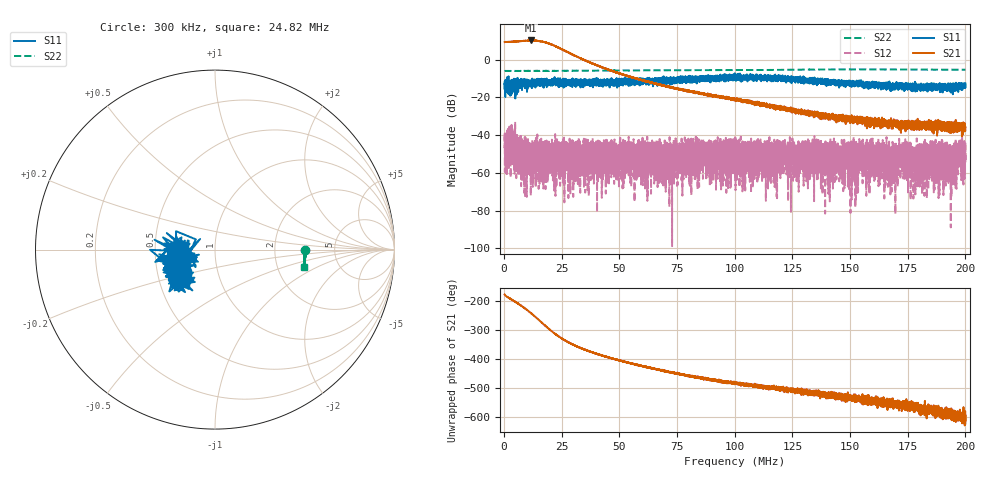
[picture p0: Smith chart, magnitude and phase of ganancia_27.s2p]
# Hz S DB R 50
! CMT, M5065, 19127446, 24.2.4/2
! Date: 11/8/2024 2:59:20 PM
! Data: Format (Calibration Info)
! Freq	S11:dB/Ang(F2)	S21:dB/Ang(F2)	S12:dB/Ang(F2)	S22:dB/Ang(F2)
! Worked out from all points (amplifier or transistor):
!   9000 points, 300 kHz to 200 MHz, reference 50 ohm
!   highest |S21| = 10.2 dB at 11.68 MHz (marker M1)
!   |S21| within 3 dB of that: start of sweep to 22.2 MHz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
!   unconditionally stable (mu >= 1): start of sweep to end of sweep
!   at 33.59 MHz: K = 103.64, MAG = 2.2 dB, |S12| = -50.1 dB
!   at 100.2 MHz: K = 916.93, MAG = -18.6 dB, |S12| = -48.7 dB
!   at 200 MHz: K = 14734.97, MAG = -35.7 dB, |S12| = -55.4 dB
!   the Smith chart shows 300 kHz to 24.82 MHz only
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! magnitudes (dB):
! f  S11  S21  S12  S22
! 300 kHz  -12.8  9.3  -39.8  -6.0
! 1.321 MHz  -9.4  9.4  -37.7  -6.0
! 3.939 MHz  -16.5  9.5  -39.3  -6.0
! 9.066 MHz  -12.3  10.0  -50.2  -6.0
! 11.68 MHz  -13.0  10.2  -49.0  -6.0
! 33.59 MHz  -11.4  0.6  -50.1  -5.9
! 66.87 MHz  -11.7  -13.1  -48.2  -5.6
! 100.2 MHz  -9.1  -20.6  -48.7  -5.5
! 119.2 MHz  -10.5  -25.5  -44.2  -5.4
! 121.3 MHz  -10.3  -25.3  -51.5  -5.4
! 123.5 MHz  -9.8  -27.1  -47.1  -5.4
! 133.4 MHz  -11.7  -28.4  -55.8  -5.3
! 137.1 MHz  -12.5  -31.5  -44.2  -5.2
! 139.6 MHz  -12.5  -30.7  -56.7  -5.2
! 144.3 MHz  -12.7  -31.5  -48.0  -5.2
! 146.3 MHz  -13.6  -31.3  -49.5  -5.2
! 155 MHz  -13.5  -32.7  -58.9  -5.2
! 166.7 MHz  -13.7  -32.8  -64.3  -5.2
! 172.7 MHz  -14.1  -34.5  -54.9  -5.2
! 189.7 MHz  -14.7  -35.1  -55.1  -5.3
! 197.1 MHz  -14.3  -35.2  -48.5  -5.3
! 200 MHz  -12.7  -37.5  -55.4  -5.3
